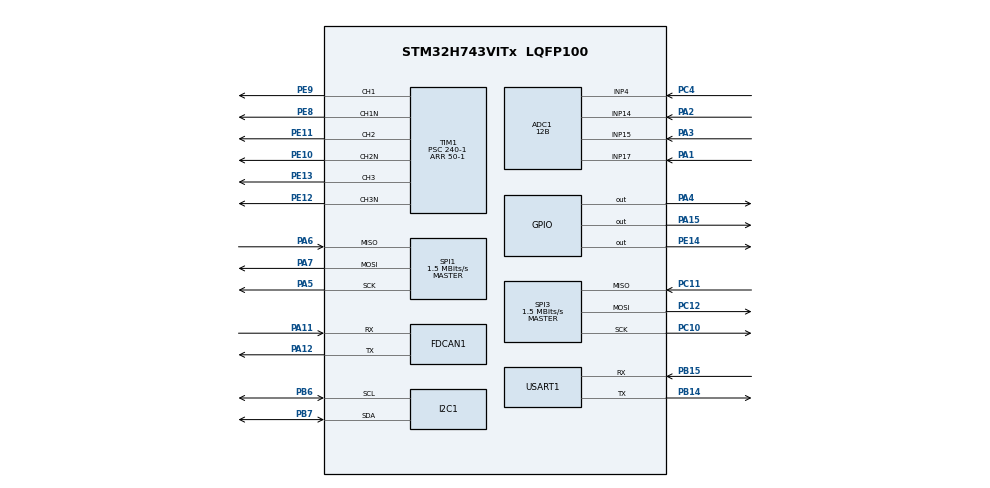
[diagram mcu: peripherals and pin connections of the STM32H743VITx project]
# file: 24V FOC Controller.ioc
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ADC1.Channel-1\#ChannelRegularConversion=ADC_CHANNEL_17
ADC1.Channel-2\#ChannelRegularConversion=ADC_CHANNEL_14
ADC1.Channel-3\#ChannelRegularConversion=ADC_CHANNEL_15
ADC1.Channel-4\#ChannelRegularConversion=ADC_CHANNEL_4
ADC1.ClockPrescaler=ADC_CLOCK_ASYNC_DIV1
ADC1.ContinuousConvMode=DISABLE
ADC1.ConversionDataManagement=ADC_CONVERSIONDATA_DMA_CIRCULAR
ADC1.ExternalTrigConv=ADC_EXTERNALTRIG_T1_TRGO
ADC1.NbrOfConversion=4
ADC1.NbrOfConversionFlag=1
ADC1.OffsetNumber-1\#ChannelRegularConversion=ADC_OFFSET_NONE
ADC1.OffsetNumber-2\#ChannelRegularConversion=ADC_OFFSET_NONE
ADC1.OffsetNumber-3\#ChannelRegularConversion=ADC_OFFSET_NONE
ADC1.OffsetNumber-4\#ChannelRegularConversion=ADC_OFFSET_NONE
ADC1.OffsetSignedSaturation-1\#ChannelRegularConversion=DISABLE
ADC1.Overrun=ADC_OVR_DATA_OVERWRITTEN
ADC1.Rank-1\#ChannelRegularConversion=1
ADC1.Rank-2\#ChannelRegularConversion=2
ADC1.Rank-3\#ChannelRegularConversion=3
ADC1.Rank-4\#ChannelRegularConversion=4
ADC1.Resolution=ADC_RESOLUTION_12B
ADC1.SamplingTime-1\#ChannelRegularConversion=ADC_SAMPLETIME_8CYCLES_5
ADC1.SamplingTime-2\#ChannelRegularConversion=ADC_SAMPLETIME_8CYCLES_5
ADC1.SamplingTime-3\#ChannelRegularConversion=ADC_SAMPLETIME_8CYCLES_5
ADC1.SamplingTime-4\#ChannelRegularConversion=ADC_SAMPLETIME_8CYCLES_5
ADC1.master=1
CORTEX_M7.default_mode_Activation=1
Dma.ADC1.2.Direction=DMA_PERIPH_TO_MEMORY
Dma.ADC1.2.EventEnable=DISABLE
Dma.ADC1.2.FIFOMode=DMA_FIFOMODE_DISABLE
Dma.ADC1.2.Instance=DMA1_Stream2
Dma.ADC1.2.MemDataAlignment=DMA_MDATAALIGN_HALFWORD
Dma.ADC1.2.MemInc=DMA_MINC_ENABLE
Dma.ADC1.2.Mode=DMA_CIRCULAR
Dma.ADC1.2.PeriphDataAlignment=DMA_PDATAALIGN_HALFWORD
Dma.ADC1.2.PeriphInc=DMA_PINC_DISABLE
Dma.ADC1.2.Polarity=HAL_DMAMUX_REQ_GEN_RISING
Dma.ADC1.2.Priority=DMA_PRIORITY_VERY_HIGH
Dma.ADC1.2.RequestNumber=1
Dma.ADC1.2.SignalID=NONE
Dma.ADC1.2.SyncEnable=DISABLE
Dma.ADC1.2.SyncPolarity=HAL_DMAMUX_SYNC_NO_EVENT
Dma.ADC1.2.SyncRequestNumber=1
Dma.ADC1.2.SyncSignalID=NONE
Dma.Request0=USART1_TX
Dma.Request1=USART1_RX
Dma.Request2=ADC1
Dma.Request3=SPI1_RX
Dma.Request4=SPI1_TX
Dma.Request5=SPI3_RX
Dma.Request6=SPI3_TX
Dma.SPI1_RX.3.Direction=DMA_PERIPH_TO_MEMORY
Dma.SPI1_RX.3.EventEnable=DISABLE
Dma.SPI1_RX.3.FIFOMode=DMA_FIFOMODE_DISABLE
Dma.SPI1_RX.3.Instance=DMA1_Stream0
Dma.SPI1_RX.3.MemDataAlignment=DMA_MDATAALIGN_HALFWORD
Dma.SPI1_RX.3.MemInc=DMA_MINC_ENABLE
Dma.SPI1_RX.3.Mode=DMA_NORMAL
Dma.SPI1_RX.3.PeriphDataAlignment=DMA_PDATAALIGN_HALFWORD
Dma.SPI1_RX.3.PeriphInc=DMA_PINC_DISABLE
Dma.SPI1_RX.3.Polarity=HAL_DMAMUX_REQ_GEN_RISING
Dma.SPI1_RX.3.Priority=DMA_PRIORITY_LOW
Dma.SPI1_RX.3.RequestNumber=1
Dma.SPI1_RX.3.SignalID=NONE
Dma.SPI1_RX.3.SyncEnable=DISABLE
Dma.SPI1_RX.3.SyncPolarity=HAL_DMAMUX_SYNC_NO_EVENT
Dma.SPI1_RX.3.SyncRequestNumber=1
Dma.SPI1_RX.3.SyncSignalID=NONE
Dma.SPI1_TX.4.Direction=DMA_MEMORY_TO_PERIPH
Dma.SPI1_TX.4.EventEnable=DISABLE
Dma.SPI1_TX.4.FIFOMode=DMA_FIFOMODE_DISABLE
Dma.SPI1_TX.4.Instance=DMA1_Stream1
Dma.SPI1_TX.4.MemDataAlignment=DMA_MDATAALIGN_HALFWORD
Dma.SPI1_TX.4.MemInc=DMA_MINC_ENABLE
Dma.SPI1_TX.4.Mode=DMA_NORMAL
Dma.SPI1_TX.4.PeriphDataAlignment=DMA_PDATAALIGN_HALFWORD
Dma.SPI1_TX.4.PeriphInc=DMA_PINC_DISABLE
Dma.SPI1_TX.4.Polarity=HAL_DMAMUX_REQ_GEN_RISING
Dma.SPI1_TX.4.Priority=DMA_PRIORITY_LOW
Dma.SPI1_TX.4.RequestNumber=1
Dma.SPI1_TX.4.SignalID=NONE
Dma.SPI1_TX.4.SyncEnable=DISABLE
Dma.SPI1_TX.4.SyncPolarity=HAL_DMAMUX_SYNC_NO_EVENT
Dma.SPI1_TX.4.SyncRequestNumber=1
Dma.SPI1_TX.4.SyncSignalID=NONE
Dma.SPI3_RX.5.Direction=DMA_PERIPH_TO_MEMORY
Dma.SPI3_RX.5.EventEnable=DISABLE
Dma.SPI3_RX.5.FIFOMode=DMA_FIFOMODE_DISABLE
Dma.SPI3_RX.5.Instance=DMA1_Stream3
Dma.SPI3_RX.5.MemDataAlignment=DMA_MDATAALIGN_HALFWORD
Dma.SPI3_RX.5.MemInc=DMA_MINC_ENABLE
Dma.SPI3_RX.5.Mode=DMA_NORMAL
Dma.SPI3_RX.5.PeriphDataAlignment=DMA_PDATAALIGN_HALFWORD
Dma.SPI3_RX.5.PeriphInc=DMA_PINC_DISABLE
Dma.SPI3_RX.5.Polarity=HAL_DMAMUX_REQ_GEN_RISING
Dma.SPI3_RX.5.Priority=DMA_PRIORITY_LOW
Dma.SPI3_RX.5.RequestNumber=1
Dma.SPI3_RX.5.SignalID=NONE
Dma.SPI3_RX.5.SyncEnable=DISABLE
Dma.SPI3_RX.5.SyncPolarity=HAL_DMAMUX_SYNC_NO_EVENT
Dma.SPI3_RX.5.SyncRequestNumber=1
Dma.SPI3_RX.5.SyncSignalID=NONE
Dma.SPI3_TX.6.Direction=DMA_MEMORY_TO_PERIPH
Dma.SPI3_TX.6.EventEnable=DISABLE
Dma.SPI3_TX.6.FIFOMode=DMA_FIFOMODE_DISABLE
Dma.SPI3_TX.6.Instance=DMA1_Stream4
Dma.SPI3_TX.6.MemDataAlignment=DMA_MDATAALIGN_HALFWORD
Dma.SPI3_TX.6.MemInc=DMA_MINC_ENABLE
Dma.SPI3_TX.6.Mode=DMA_NORMAL
Dma.SPI3_TX.6.PeriphDataAlignment=DMA_PDATAALIGN_HALFWORD
Dma.SPI3_TX.6.PeriphInc=DMA_PINC_DISABLE
Dma.SPI3_TX.6.Polarity=HAL_DMAMUX_REQ_GEN_RISING
Dma.SPI3_TX.6.Priority=DMA_PRIORITY_LOW
Dma.SPI3_TX.6.RequestNumber=1
Dma.SPI3_TX.6.SignalID=NONE
Dma.SPI3_TX.6.SyncEnable=DISABLE
Dma.SPI3_TX.6.SyncPolarity=HAL_DMAMUX_SYNC_NO_EVENT
Dma.SPI3_TX.6.SyncRequestNumber=1
Dma.SPI3_TX.6.SyncSignalID=NONE
Dma.USART1_RX.1.Direction=DMA_PERIPH_TO_MEMORY
Dma.USART1_RX.1.EventEnable=DISABLE
Dma.USART1_RX.1.FIFOMode=DMA_FIFOMODE_DISABLE
Dma.USART1_RX.1.Instance=DMA2_Stream1
Dma.USART1_RX.1.MemDataAlignment=DMA_MDATAALIGN_BYTE
Dma.USART1_RX.1.MemInc=DMA_MINC_ENABLE
Dma.USART1_RX.1.Mode=DMA_CIRCULAR
Dma.USART1_RX.1.PeriphDataAlignment=DMA_PDATAALIGN_BYTE
Dma.USART1_RX.1.PeriphInc=DMA_PINC_DISABLE
Dma.USART1_RX.1.Polarity=HAL_DMAMUX_REQ_GEN_RISING
Dma.USART1_RX.1.Priority=DMA_PRIORITY_LOW
Dma.USART1_RX.1.RequestNumber=1
Dma.USART1_RX.1.SignalID=NONE
Dma.USART1_RX.1.SyncEnable=DISABLE
Dma.USART1_RX.1.SyncPolarity=HAL_DMAMUX_SYNC_NO_EVENT
Dma.USART1_RX.1.SyncRequestNumber=1
Dma.USART1_RX.1.SyncSignalID=NONE
Dma.USART1_TX.0.Direction=DMA_MEMORY_TO_PERIPH
Dma.USART1_TX.0.EventEnable=DISABLE
Dma.USART1_TX.0.FIFOMode=DMA_FIFOMODE_DISABLE
Dma.USART1_TX.0.Instance=DMA2_Stream0
Dma.USART1_TX.0.MemDataAlignment=DMA_MDATAALIGN_BYTE
Dma.USART1_TX.0.MemInc=DMA_MINC_ENABLE
Dma.USART1_TX.0.Mode=DMA_NORMAL
Dma.USART1_TX.0.PeriphDataAlignment=DMA_PDATAALIGN_BYTE
Dma.USART1_TX.0.PeriphInc=DMA_PINC_DISABLE
Dma.USART1_TX.0.Polarity=HAL_DMAMUX_REQ_GEN_RISING
Dma.USART1_TX.0.Priority=DMA_PRIORITY_MEDIUM
Dma.USART1_TX.0.RequestNumber=1
Dma.USART1_TX.0.SignalID=NONE
Dma.USART1_TX.0.SyncEnable=DISABLE
Dma.USART1_TX.0.SyncPolarity=HAL_DMAMUX_SYNC_NO_EVENT
Dma.USART1_TX.0.SyncRequestNumber=1
Dma.USART1_TX.0.SyncSignalID=NONE
FDCAN1.AutoRetransmission=ENABLE
FDCAN1.CalculateBaudRateNominal=500000
FDCAN1.CalculateTimeBitNominal=2000
FDCAN1.CalculateTimeQuantumNominal=50.0
FDCAN1.FrameFormat=FDCAN_FRAME_CLASSIC
FDCAN1.Mode=FDCAN_MODE_NORMAL
FDCAN1.NominalPrescaler=5
FDCAN1.NominalSyncJumpWidth=1
FDCAN1.NominalTimeSeg1=8
FDCAN1.NominalTimeSeg2=1
FDCAN1.RxFifo0ElmtsNbr=8
FDCAN1.StdFiltersNbr=1
FDCAN1.TxFifoQueueElmtsNbr=3
I2C1.Timing=0x307075B1
Mcu.Family=STM32H7
Mcu.Name=STM32H743VITx
Mcu.Package=LQFP100
NVIC.DMA1_Stream0_IRQn=true\:0\:1\:false\:false\:true\:false\:true\:true
NVIC.DMA1_Stream1_IRQn=true\:0\:1\:false\:false\:true\:false\:true\:true
NVIC.DMA1_Stream2_IRQn=true\:1\:0\:true\:false\:true\:false\:true\:true
NVIC.DMA1_Stream3_IRQn=true\:2\:0\:true\:false\:true\:false\:true\:true
NVIC.DMA1_Stream4_IRQn=true\:0\:0\:false\:false\:true\:false\:true\:true
NVIC.DMA2_Stream0_IRQn=true\:7\:0\:true\:false\:true\:false\:true\:true
NVIC.DMA2_Stream1_IRQn=true\:6\:0\:true\:false\:true\:false\:true\:true
NVIC.FDCAN1_IT0_IRQn=true\:5\:0\:true\:false\:true\:false\:true\:true
NVIC.PriorityGroup=NVIC_PRIORITYGROUP_3
NVIC.SPI1_IRQn=true\:1\:1\:true\:false\:true\:false\:true\:true
NVIC.SPI3_IRQn=true\:2\:1\:true\:false\:true\:false\:true\:true
NVIC.TIM1_UP_IRQn=true\:0\:0\:false\:false\:true\:true\:true\:true
PA1.Mode=IN17-Single-Ended
PA1.Signal=ADC1_INP17
PA11.Mode=FDCAN_Activate
PA11.Signal=FDCAN1_RX
PA12.Mode=FDCAN_Activate
PA12.Signal=FDCAN1_TX
PA13\ (JTMS/SWDIO).Mode=Serial_Wire
PA13\ (JTMS/SWDIO).Signal=DEBUG_JTMS-SWDIO
PA14\ (JTCK/SWCLK).Mode=Serial_Wire
PA14\ (JTCK/SWCLK).Signal=DEBUG_JTCK-SWCLK
PA15\ (JTDI).GPIO_Speed=GPIO_SPEED_FREQ_VERY_HIGH
PA15\ (JTDI).PinState=GPIO_PIN_SET
PA15\ (JTDI).Signal=GPIO_Output
PA2.Signal=ADCx_INP14
PA3.Signal=ADCx_INP15
PA4.Signal=GPIO_Output
PA5.GPIO_Speed=GPIO_SPEED_FREQ_VERY_HIGH
PA5.Mode=Full_Duplex_Master
PA5.Signal=SPI1_SCK
PA6.GPIO_Speed=GPIO_SPEED_FREQ_VERY_HIGH
PA6.Mode=Full_Duplex_Master
PA6.Signal=SPI1_MISO
PA7.GPIO_Speed=GPIO_SPEED_FREQ_VERY_HIGH
PA7.Mode=Full_Duplex_Master
PA7.Signal=SPI1_MOSI
PB14.Mode=Asynchronous
PB14.Signal=USART1_TX
PB15.Mode=Asynchronous
PB15.Signal=USART1_RX
PB6.Mode=I2C
PB6.Signal=I2C1_SCL
PB7.Mode=I2C
PB7.Signal=I2C1_SDA
PC10.Mode=Full_Duplex_Master
PC10.Signal=SPI3_SCK
PC11.Mode=Full_Duplex_Master
PC11.Signal=SPI3_MISO
PC12.Mode=Full_Duplex_Master
PC12.Signal=SPI3_MOSI
PC4.Signal=ADCx_INP4
PE10.Mode=PWM Generation2 CH2 CH2N
PE10.Signal=TIM1_CH2N
PE11.Signal=S_TIM1_CH2
PE12.Mode=PWM Generation3 CH3 CH3N
PE12.Signal=TIM1_CH3N
PE13.Signal=S_TIM1_CH3
PE14.PinState=GPIO_PIN_SET
PE14.Signal=GPIO_Output
PE8.Mode=PWM Generation1 CH1 CH1N
PE8.Signal=TIM1_CH1N
PE9.Signal=S_TIM1_CH1
PH0-OSC_IN\ (PH0).Mode=HSE-External-Oscillator
PH0-OSC_IN\ (PH0).Signal=RCC_OSC_IN
PH1-OSC_OUT\ (PH1).Mode=HSE-External-Oscillator
PH1-OSC_OUT\ (PH1).Signal=RCC_OSC_OUT
ProjectManager.HeapSize=0x200
ProjectManager.StackSize=0x400
ProjectManager.TargetToolchain=MDK-ARM V5.32
RCC.ADCFreq_Value=75000000
RCC.APB1Freq_Value=120000000
RCC.APB2Freq_Value=120000000
RCC.APB3Freq_Value=120000000
RCC.APB4Freq_Value=120000000
RCC.CortexFreq_Value=480000000
RCC.D1PPRE=RCC_APB3_DIV2
RCC.D2PPRE1=RCC_APB1_DIV2
RCC.D2PPRE2=RCC_APB2_DIV2
RCC.D3PPRE=RCC_APB4_DIV2
RCC.DIVM1=5
RCC.DIVM2=2
RCC.DIVN1=192
RCC.DIVN2=12
RCC.DIVQ1=5
RCC.FDCANCLockSelection=RCC_FDCANCLKSOURCE_HSE
RCC.HCLKFreq_Value=240000000
RCC.HPRE=RCC_HCLK_DIV2
RCC.PLL2FRACN=0
RCC.PLL3FRACN=0
RCC.PLLFRACN=0
RCC.PLLSourceVirtual=RCC_PLLSOURCE_HSE
RCC.SYSCLKFreq_VALUE=480000000
RCC.SYSCLKSource=RCC_SYSCLKSOURCE_PLLCLK
RCC.USBFreq_Value=192000000
SH.ADCx_INP14.0=ADC1_INP14,IN14-Single-Ended
SH.ADCx_INP15.0=ADC1_INP15,IN15-Single-Ended
SH.ADCx_INP4.0=ADC1_INP4,IN4-Single-Ended
SH.S_TIM1_CH1.0=TIM1_CH1,PWM Generation1 CH1 CH1N
SH.S_TIM1_CH2.0=TIM1_CH2,PWM Generation2 CH2 CH2N
SH.S_TIM1_CH3.0=TIM1_CH3,PWM Generation3 CH3 CH3N
SPI1.BaudRatePrescaler=SPI_BAUDRATEPRESCALER_128
SPI1.CLKPhase=SPI_PHASE_2EDGE
SPI1.CLKPolarity=SPI_POLARITY_LOW
SPI1.CalculateBaudRate=1.5 MBits/s
SPI1.DataSize=SPI_DATASIZE_16BIT
SPI1.Direction=SPI_DIRECTION_2LINES
SPI1.Mode=SPI_MODE_MASTER
SPI1.NSSPMode=SPI_NSS_PULSE_DISABLE
SPI1.VirtualType=VM_MASTER
SPI3.BaudRatePrescaler=SPI_BAUDRATEPRESCALER_128
SPI3.CLKPhase=SPI_PHASE_2EDGE
SPI3.CalculateBaudRate=1.5 MBits/s
SPI3.DataSize=SPI_DATASIZE_16BIT
SPI3.Direction=SPI_DIRECTION_2LINES
SPI3.Mode=SPI_MODE_MASTER
SPI3.NSSPMode=SPI_NSS_PULSE_DISABLE
SPI3.VirtualType=VM_MASTER
TIM1.AutomaticOutput=TIM_AUTOMATICOUTPUT_ENABLE
TIM1.Channel-PWM\ Generation1\ CH1\ CH1N=TIM_CHANNEL_1
TIM1.Channel-PWM\ Generation2\ CH2\ CH2N=TIM_CHANNEL_2
TIM1.Channel-PWM\ Generation3\ CH3\ CH3N=TIM_CHANNEL_3
TIM1.CounterMode=TIM_COUNTERMODE_CENTERALIGNED1
TIM1.DeadTime=120
TIM1.OffStateIDLEMode=TIM_OSSI_ENABLE
TIM1.OffStateRunMode=TIM_OSSR_ENABLE
TIM1.Period=50-1
TIM1.Prescaler=240-1
TIM1.Pulse-PWM\ Generation1\ CH1\ CH1N=0
TIM1.Pulse-PWM\ Generation2\ CH2\ CH2N=25
TIM1.Pulse-PWM\ Generation3\ CH3\ CH3N=25
TIM1.TIM_MasterOutputTrigger=TIM_TRGO_UPDATE
TIM1.TIM_MasterSlaveMode=TIM_MASTERSLAVEMODE_DISABLE
USART1.VirtualMode-Asynchronous=VM_ASYNC
VP_MEMORYMAP_VS_MEMORYMAP.Mode=CurAppReg
VP_TIM1_VS_ClockSourceINT.Mode=Internal
board=custom

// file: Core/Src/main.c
/* USER CODE BEGIN Header */
/**
  ******************************************************************************
  * @file           : main.c
  * @brief          : Main program body
  ******************************************************************************
  * @attention
  *
  * Copyright (c) 2026 STMicroelectronics.
  * All rights reserved.
  *
  * This software is licensed under terms that can be found in the LICENSE file
  * in the root directory of this software component.
  * If no LICENSE file comes with this software, it is provided AS-IS.
  *
  ******************************************************************************
  */
/* USER CODE END Header */
#include "main.h"
#include "adc.h"
#include "dma.h"
#include "fdcan.h"
#include "i2c.h"
#include "memorymap.h"
#include "spi.h"
#include "tim.h"
#include "usart.h"
#include "gpio.h"

/* USER CODE BEGIN Includes */

#include "head.h"
#include "demo_button_control.h"
#include "can_protocol.h"
#include "current_stream.h"
#include "debug_stream.h"
#include "trig_ring.h"
#include "foc_profiler.h"
/* USER CODE END Includes */

/* USER CODE BEGIN PD */
#define FOC_EXT_SPI_POWERUP_DELAY_MS 20U
#define FOC_PWR_VOSRDY_TIMEOUT_MS 10U

/* USER CODE END PD */

/* USER CODE BEGIN PV */
static uint8_t s_system_clock_fallback_to_hsi = 0U;

/* USER CODE END PV */

void SystemClock_Config(void);
static void MPU_Config(void);
/* USER CODE BEGIN PFP */
static void Main_RecordDrvStartupCommFault(void);
static void Main_RecordStartupFault(uint32_t faultBit, FOC_FaultCode_t faultCode);
static void Main_BootUartSend(const char *text, uint16_t len);
static HAL_StatusTypeDef SystemClock_TryConfigureHse(void);
static HAL_StatusTypeDef SystemClock_TryConfigureHsi(void);
static HAL_StatusTypeDef SystemClock_ApplyCommonBusConfig(void);
static HAL_StatusTypeDef SystemClock_WaitForVosReady(uint32_t timeoutMs);

/* USER CODE END PFP */

/* USER CODE BEGIN 0 */
static void Main_RecordDrvStartupCommFault(void)
{
  drv8350s.runtime.spiError = 1U;
  drv8350s.runtime.commFaultActive = 1U;
  drv8350s.runtime.commValidated = 0U;
  drv8350s.runtime.isFaultActive = 1U;
  drv8350s.runtime.faultFlags |= DRV8350S_COMM_FAULT_BIT;
  drv8350s.runtime.lastRxFrame = 0xFFFFU;
  drv8350s.runtime.regFaultStatus1 = 0U;
  drv8350s.runtime.regVgsStatus2 = 0U;
  drv8350s.runtime.regDriverCtrl = 0U;
  drv8350s.runtime.regOcpCtrl = 0U;

  g_foc_app.fault_code = FOC_FAULT_DRV8350S;
  g_foc_app.state = FOC_STATE_FAULT;
}

static void Main_RecordStartupFault(uint32_t faultBit, FOC_FaultCode_t faultCode)
{
  drv8350s.runtime.isFaultActive = 1U;
  drv8350s.runtime.faultFlags |= faultBit;
  drv8350s.runtime.commValidated = 0U;

  g_foc_app.fault_code = faultCode;
  g_foc_app.state = FOC_STATE_FAULT;
}

static void Main_BootUartSend(const char *text, uint16_t len)
{
  if ((text == NULL) || (len == 0U) || (huart1.Instance != USART1)) {
    return;
  }

  (void)HAL_UART_Transmit(&huart1, (uint8_t*)text, len, 20U);
}

static HAL_StatusTypeDef SystemClock_ApplyCommonBusConfig(void)
{
  RCC_ClkInitTypeDef RCC_ClkInitStruct = {0};

  RCC_ClkInitStruct.ClockType = RCC_CLOCKTYPE_HCLK | RCC_CLOCKTYPE_SYSCLK |
                                RCC_CLOCKTYPE_PCLK1 | RCC_CLOCKTYPE_PCLK2 |
                                RCC_CLOCKTYPE_D3PCLK1 | RCC_CLOCKTYPE_D1PCLK1;
  RCC_ClkInitStruct.SYSCLKSource = RCC_SYSCLKSOURCE_PLLCLK;
  RCC_ClkInitStruct.SYSCLKDivider = RCC_SYSCLK_DIV1;
  RCC_ClkInitStruct.AHBCLKDivider = RCC_HCLK_DIV2;
  RCC_ClkInitStruct.APB3CLKDivider = RCC_APB3_DIV2;
  RCC_ClkInitStruct.APB1CLKDivider = RCC_APB1_DIV2;
  RCC_ClkInitStruct.APB2CLKDivider = RCC_APB2_DIV2;
  RCC_ClkInitStruct.APB4CLKDivider = RCC_APB4_DIV2;

  return HAL_RCC_ClockConfig(&RCC_ClkInitStruct, FLASH_LATENCY_4);
}

static HAL_StatusTypeDef SystemClock_WaitForVosReady(uint32_t timeoutMs)
{
  uint32_t start = HAL_GetTick();

  while (!__HAL_PWR_GET_FLAG(PWR_FLAG_VOSRDY))
  {
    if ((HAL_GetTick() - start) > timeoutMs)
    {
      return HAL_TIMEOUT;
    }
  }

  return HAL_OK;
}

static HAL_StatusTypeDef SystemClock_TryConfigureHse(void)
{
  RCC_OscInitTypeDef RCC_OscInitStruct = {0};

  RCC_OscInitStruct.OscillatorType = RCC_OSCILLATORTYPE_HSE;
  RCC_OscInitStruct.HSEState = RCC_HSE_ON;
  RCC_OscInitStruct.PLL.PLLState = RCC_PLL_ON;
  RCC_OscInitStruct.PLL.PLLSource = RCC_PLLSOURCE_HSE;
  RCC_OscInitStruct.PLL.PLLM = 5;
  RCC_OscInitStruct.PLL.PLLN = 192;
  RCC_OscInitStruct.PLL.PLLP = 2;
  RCC_OscInitStruct.PLL.PLLQ = 5;
  RCC_OscInitStruct.PLL.PLLR = 2;
  RCC_OscInitStruct.PLL.PLLRGE = RCC_PLL1VCIRANGE_2;
  RCC_OscInitStruct.PLL.PLLVCOSEL = RCC_PLL1VCOWIDE;
  RCC_OscInitStruct.PLL.PLLFRACN = 0;

  if (HAL_RCC_OscConfig(&RCC_OscInitStruct) != HAL_OK)
  {
    return HAL_ERROR;
  }

  return SystemClock_ApplyCommonBusConfig();
}

static HAL_StatusTypeDef SystemClock_TryConfigureHsi(void)
{
  RCC_OscInitTypeDef RCC_OscInitStruct = {0};

  RCC_OscInitStruct.OscillatorType = RCC_OSCILLATORTYPE_HSI;
  RCC_OscInitStruct.HSIState = RCC_HSI_DIV1;
  RCC_OscInitStruct.HSICalibrationValue = RCC_HSICALIBRATION_DEFAULT;
  RCC_OscInitStruct.PLL.PLLState = RCC_PLL_ON;
  RCC_OscInitStruct.PLL.PLLSource = RCC_PLLSOURCE_HSI;
  RCC_OscInitStruct.PLL.PLLM = 4;
  RCC_OscInitStruct.PLL.PLLN = 60;
  RCC_OscInitStruct.PLL.PLLP = 2;
  RCC_OscInitStruct.PLL.PLLQ = 5;
  RCC_OscInitStruct.PLL.PLLR = 2;
  RCC_OscInitStruct.PLL.PLLRGE = RCC_PLL1VCIRANGE_3;
  RCC_OscInitStruct.PLL.PLLVCOSEL = RCC_PLL1VCOWIDE;
  RCC_OscInitStruct.PLL.PLLFRACN = 0;

  if (HAL_RCC_OscConfig(&RCC_OscInitStruct) != HAL_OK)
  {
    return HAL_ERROR;
  }

  return SystemClock_ApplyCommonBusConfig();
}

/* USER CODE END 0 */

int main(void)
{
  /* USER CODE BEGIN 1 */
  uint8_t startupControlReady = 1U;

  /* USER CODE END 1 */

  /* MPU Configuration--------------------------------------------------------*/
  MPU_Config();

  /* MCU Configuration--------------------------------------------------------*/

  /* Reset of all peripherals, Initializes the Flash interface and the Systick. */
  HAL_Init();

  MX_GPIO_Init();
  MX_DMA_Init();
  MX_USART1_UART_Init();
  Main_BootUartSend("BOOT,EARLY_UART\r\n", 17U);

  /* Configure the system clock */
  SystemClock_Config();
  if (s_system_clock_fallback_to_hsi != 0U)
  {
    Main_BootUartSend("BOOT,CLOCK_HSI_FALLBACK\r\n", 25U);
  }
  Main_BootUartSend("BOOT,CLOCK_READY\r\n", 18U);
  FOC_Profiler_Init();

  /* Initialize all configured peripherals */
  /* DEBUG: PB0 scope probe for TIM1_UP ISR frequency measurement */
  { GPIO_InitTypeDef g = {0}; g.Pin = GPIO_PIN_0; g.Mode = GPIO_MODE_OUTPUT_PP; g.Pull = GPIO_NOPULL; g.Speed = GPIO_SPEED_FREQ_VERY_HIGH; HAL_GPIO_Init(GPIOB, &g); }
  MX_USART1_UART_Init();
  MX_TIM1_Init();
  MX_ADC1_Init();
  MX_SPI1_Init();
  Main_BootUartSend("BOOT,USART_READY\r\n", 18U);
  MX_FDCAN1_Init();
  MX_I2C1_Init();
  MX_SPI3_Init();
  Main_BootUartSend("BOOT,PERIPH_READY\r\n", 19U);
  /* USER CODE BEGIN 2 */
  HAL_Delay(FOC_EXT_SPI_POWERUP_DELAY_MS);
  TLE5012_Init();

  /* 初始化FOC应用�? */
  FOC_App_Init(&g_foc_app);
  DemoButtonControl_Init(&g_foc_app);

  /* 初始化UART上传模块 */
  DrvUart_Init(&huart1, &drv8350s);
  CurStream_Init();  /* V1.1: binary current stream */
  DebugStream_Init();  /* PDBBIN binary debug stream */
  TrigRing_Init();  /* ③: fault-trigger ring buffer */
  CanProtocol_Init(CAN_NODE_ID_DEFAULT);  /* Phase 6 */
  Main_BootUartSend("BOOT,DRVUART_READY\r\n", 20U);

	if (HAL_UARTEx_ReceiveToIdle_DMA(&huart1, (uint8_t*)urR_data, sizeof(urR_data)) != HAL_OK) {
		Main_RecordStartupFault(DRV8350S_FW_UART_RX_FAULT_BIT, FOC_FAULT_PARAM_INVALID);
	}
	/* 仅使用IDLE/TC事件，禁用HT回调避免重复处理 */
	if (huart1.hdmarx != NULL) {
		__HAL_DMA_DISABLE_IT(huart1.hdmarx, DMA_IT_HT);
	}

	/* ADC校准 - STM32H7必须在使用前进行校准 */
	if (HAL_ADCEx_Calibration_Start(&hadc1, ADC_CALIB_OFFSET, ADC_SINGLE_ENDED) != HAL_OK) {
		Main_RecordStartupFault(DRV8350S_FW_ADC_CAL_FAULT_BIT, FOC_FAULT_ADC_SAMPLING);
		startupControlReady = 0U;
	}

	/* 初始化ADC采样模块 */
	if (ADC_Sampling_Init(&hadc1) != 0) {
		Main_RecordStartupFault(DRV8350S_FW_ADC_CAL_FAULT_BIT, FOC_FAULT_ADC_SAMPLING);
		startupControlReady = 0U;
	}

	/* 提前启动TIM1计数器和CH4内部比较输出，仅用于ADC触发。
	 * 这里不启动PWM通道，也不使能更新中断，因此不会驱动功率级。
	 */
	if (startupControlReady && (HAL_TIM_Base_Start(&htim1) != HAL_OK)) {
		Main_RecordStartupFault(DRV8350S_FW_TIM_TRIG_FAULT_BIT, FOC_FAULT_PARAM_INVALID);
		startupControlReady = 0U;
	}
	if (startupControlReady && (HAL_TIM_OC_Start(&htim1, TIM_CHANNEL_4) != HAL_OK)) {
		Main_RecordStartupFault(DRV8350S_FW_TIM_TRIG_FAULT_BIT, FOC_FAULT_PARAM_INVALID);
		startupControlReady = 0U;
	}

	/* 启动ADC DMA采样 */
	if (startupControlReady && (HAL_ADC_Start_DMA(&hadc1, (uint32_t*)adc_data, 4) != HAL_OK)) {
		Main_RecordStartupFault(DRV8350S_FW_ADC_DMA_FAULT_BIT, FOC_FAULT_ADC_SAMPLING);
		startupControlReady = 0U;
	}
	/* 仅在DMA全传输完成时处理采样，避免半缓冲期读到混合帧 */
	if (hadc1.DMA_Handle != NULL) {
		__HAL_DMA_DISABLE_IT(hadc1.DMA_Handle, DMA_IT_HT);
	}

	if (DRV8350S_Init(&drv8350s, &hspi1, &htim1,
                      GPIOA,
                      GPIO_PIN_4) == 0) {

		/* 仅给DRV8350S芯片上电用于寄存器配置/故障诊断，栅极仍保持关闭。 */
		HAL_GPIO_WritePin(GPIOE, GPIO_PIN_14, GPIO_PIN_SET);
		HAL_Delay(2);

		DRV8350S_Config_t config;
		DRV8350S_SetDefaultConfig(&config);

		/* 根据你的硬件调整 */
		config.pwmMode = DRV8350S_PWM_MODE_6X;           /* 6x PWM 模式 */
		config.idriveP_hs = DRV8350S_IDRIVE_1000MA;      /* 1A source */
		config.idriveN_hs = DRV8350S_IDRIVE_1000MA;      /* 1A sink */
		config.tdrive = DRV8350S_TDRIVE_4000NS;          /* 4us */
		config.ocpMode = DRV8350S_OCP_MODE_RETRY;        /* retry mode */
		config.vdsLvl = 0x09;                            /* 0.6V typ，避免12V台架开环识别阶段过早触发VDS OCP */

		if (DRV8350S_Configure(&drv8350s, &config) == 0) {
			/* 上电默认保持功率级关闭：
			 * 1) 关闭栅极驱动，确保MOS不导通
			 * 2) 保持DRV_EN上电，便于持续诊断和故障上传
			 * 真正使能由 FOC_App_Enable() 统一管理
			 */
			(void)DRV8350S_DisableGateDrivers(&drv8350s);
		} else {
			Main_RecordDrvStartupCommFault();
		}
	} else {
		Main_RecordDrvStartupCommFault();
	}
  Main_BootUartSend((g_foc_app.fault_code == FOC_FAULT_NONE) ? "BOOT,DRV_READY\r\n" : "BOOT,DRV_FAIL\r\n",
                    (g_foc_app.fault_code == FOC_FAULT_NONE) ? 16U : 15U);

	/* ADC电流零点校准（超时会自动回退到默认偏置）。
	 * 必须放在DRV_EN上电并完成寄存器配置之后，确保电流采样前端偏置已经稳定。
	 */
	if (startupControlReady) {
		if (ADC_Sampling_Calibrate(200) != 0) {
			Main_RecordStartupFault(DRV8350S_FW_ADC_CAL_FAULT_BIT, FOC_FAULT_ADC_SAMPLING);
			startupControlReady = 0U;
		}
	}
  Main_BootUartSend(startupControlReady ? "BOOT,ADC_READY\r\n" : "BOOT,ADC_FAIL\r\n",
                    startupControlReady ? 16U : 15U);

  if (startupControlReady) {
    __HAL_TIM_CLEAR_FLAG(&htim1, TIM_FLAG_UPDATE);
    __HAL_TIM_ENABLE_IT(&htim1, TIM_IT_UPDATE);
  }

  /* 注意：速度环/位置环已移至TIM1中断分频：
   * - 速度环: 2kHz (20kHz/10)
   * - 位置环/参数识别: 200Hz (20kHz/100)
   * 无需单独启动TIM2
   */
  // HAL_TIM_Base_Start_IT(&htim2);  /* 已禁用 - 使用TIM1分频代替 */

  /* USER CODE END 2 */
  Main_BootUartSend("BOOT,MAIN_LOOP\r\n", 16U);

  /* Infinite loop */
  /* USER CODE BEGIN WHILE */
  while (1)
  {
    /* 主循环整体 DWT 探针 (2026-08-30 任务卡调试: 区分命令服务/PREF/PDB发射/其余) */
    uint32_t main_loop_start = FOC_Profiler_Begin();
#if LOOP_PROF_EN
    /* 主循环分段 (LOOP_PROF): SEG_CMD > SEG_PREF/SEG_PDB 嵌套; SEG_NFRAME; SEG_OTHER.
     * 每段净耗时 = 墙钟差 − 段内 TIM1 ISR 税 (ISR 税校正, 2026-08-31 黑洞专项)。 */
    FOC_Profiler_LoopBegin();
    FOC_LoopSegHandle_t seg_cmd_h, seg_nframe_h, seg_other_h;
#endif

    /* 处理上位机下发命令 */
#if LOOP_PROF_EN
    FOC_Profiler_SegBegin(&seg_cmd_h);
    UART_Command_ProcessPending();
    FOC_Profiler_SegEnd(&seg_cmd_h, FOC_PROBE_SEG_CMD);
#else
    UART_Command_ProcessPending();
#endif

    /* FOC应用层主循环 - 状态机和故障处理 */
#if LOOP_PROF_EN
    FOC_Profiler_SegBegin(&seg_other_h);
    FOC_App_MainLoop(&g_foc_app);
    DemoButtonControl_Service();
    FOC_Profiler_SegEnd(&seg_other_h, FOC_PROBE_SEG_OTHER);
#else
    FOC_App_MainLoop(&g_foc_app);
    DemoButtonControl_Service();
#endif

    /* UART数据上传处理 */
#if LOOP_PROF_EN
    FOC_Profiler_SegBegin(&seg_nframe_h);
    DrvUart_Process();
    FOC_Profiler_SegEnd(&seg_nframe_h, FOC_PROBE_SEG_NFRAME);
    /* SEG_OTHER 第二部分 (与第一部分非重叠同 probe): CurStream/Wheel/CAN/故障 */
    FOC_Profiler_SegBegin(&seg_other_h);
#else
    DrvUart_Process();
#endif

    /* V1.1: Binary current stream drain (after telemetry, P1 priority) */
    CurStream_Process();

    /* V1.3: Wheel event drain + session timeout check (P0 priority) */
    {
        uint8_t wheel_expired = WheelInput_Process();
        if (wheel_expired) {
            /* Session lost — immediate STOP, disable, return to RAW */
            FOC_App_Disable(&g_foc_app);
            /* Force back to RAW mode so normal commands work again */
            FOC_App_SetAppMode(&g_foc_app, APP_MODE_RAW);
            /* Also lock power for safety */
            g_foc_app.power_unlocked = 0U;
        }
    }

    /* Phase 6: CAN protocol heartbeat check */
    CanProtocol_Process();

    /* 故障处理 */
    if (drv8350s.runtime.isFaultActive) {
        /* 故障时仅在功率级仍使能时执行一次下电，避免重复阻塞SPI */
        if (g_foc_app.enable_pwm) {
            FOC_App_Disable(&g_foc_app);
        }
        if (g_foc_app.state != FOC_STATE_FAULT) {
            g_foc_app.fault_code = FOC_FAULT_DRV8350S;
            g_foc_app.state = FOC_STATE_FAULT;
        }
    }

    /* USER CODE END WHILE */

    FOC_Profiler_End(FOC_PROBE_MAIN_LOOP, main_loop_start);
#if LOOP_PROF_EN
    /* SEG_OTHER 结算 (覆盖 CurStream/Wheel/CAN/故障段) */
    FOC_Profiler_SegEnd(&seg_other_h, FOC_PROBE_SEG_OTHER);
#endif

  }
}

void SystemClock_Config(void)
{
  /** Supply configuration update enable
  */
  HAL_PWREx_ConfigSupply(PWR_LDO_SUPPLY);

  /** Configure the main internal regulator output voltage
  */
  __HAL_PWR_VOLTAGESCALING_CONFIG(PWR_REGULATOR_VOLTAGE_SCALE1);

  if (SystemClock_WaitForVosReady(FOC_PWR_VOSRDY_TIMEOUT_MS) != HAL_OK)
  {
    Error_Handler();
  }

  __HAL_RCC_SYSCFG_CLK_ENABLE();
  __HAL_PWR_VOLTAGESCALING_CONFIG(PWR_REGULATOR_VOLTAGE_SCALE0);

  if (SystemClock_WaitForVosReady(FOC_PWR_VOSRDY_TIMEOUT_MS) != HAL_OK)
  {
    Error_Handler();
  }

  s_system_clock_fallback_to_hsi = 0U;

  if (SystemClock_TryConfigureHse() != HAL_OK)
  {
    s_system_clock_fallback_to_hsi = 1U;
    HAL_RCC_DeInit();
    if (SystemClock_TryConfigureHsi() != HAL_OK)
    {
      Error_Handler();
    }
  }
}

 /* MPU Configuration */

void MPU_Config(void)
{
  MPU_Region_InitTypeDef MPU_InitStruct = {0};

  /* Disables the MPU */
  HAL_MPU_Disable();

  /** Initializes and configures the Region and the memory to be protected
  */
  MPU_InitStruct.Enable = MPU_REGION_ENABLE;
  MPU_InitStruct.Number = MPU_REGION_NUMBER0;
  MPU_InitStruct.BaseAddress = 0x0;
  MPU_InitStruct.Size = MPU_REGION_SIZE_4GB;
  MPU_InitStruct.SubRegionDisable = 0x87;
  MPU_InitStruct.TypeExtField = MPU_TEX_LEVEL0;
  MPU_InitStruct.AccessPermission = MPU_REGION_NO_ACCESS;
  MPU_InitStruct.DisableExec = MPU_INSTRUCTION_ACCESS_DISABLE;
  MPU_InitStruct.IsShareable = MPU_ACCESS_SHAREABLE;
  MPU_InitStruct.IsCacheable = MPU_ACCESS_NOT_CACHEABLE;
  MPU_InitStruct.IsBufferable = MPU_ACCESS_NOT_BUFFERABLE;

  HAL_MPU_ConfigRegion(&MPU_InitStruct);
  /* Enables the MPU */
  HAL_MPU_Enable(MPU_PRIVILEGED_DEFAULT);

}

void Error_Handler(void)
{
  /* USER CODE BEGIN Error_Handler_Debug */
  /* User can add his own implementation to report the HAL error return state */
  Main_BootUartSend("BOOT,ERROR_HANDLER\r\n", 20U);
  __disable_irq();
  while (1)
  {
  }
  /* USER CODE END Error_Handler_Debug */
}
